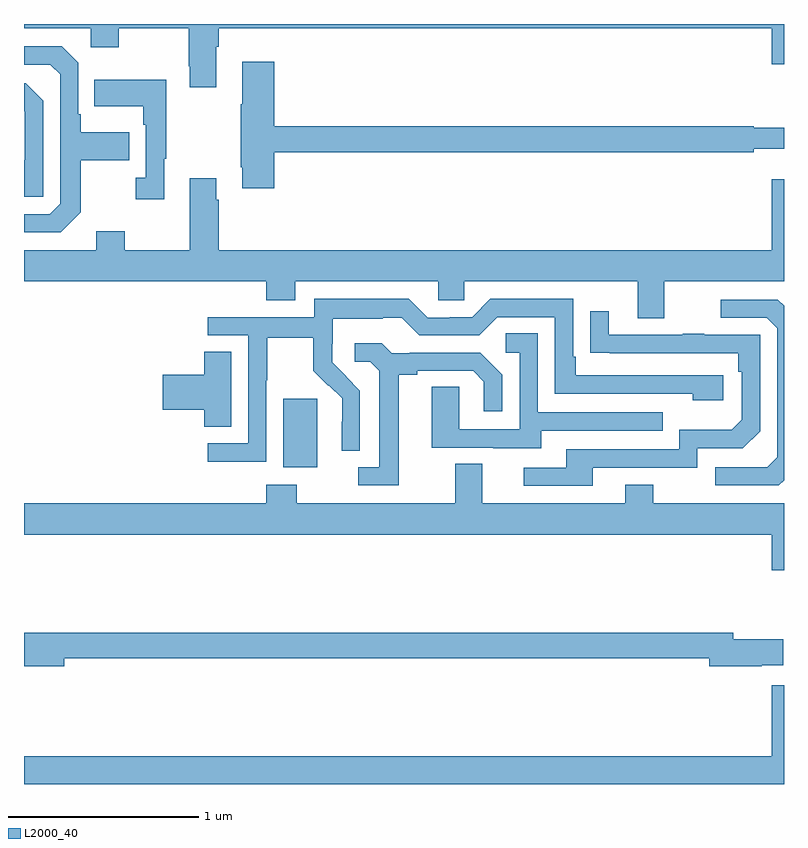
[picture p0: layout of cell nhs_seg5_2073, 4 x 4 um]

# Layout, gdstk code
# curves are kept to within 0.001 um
import gdstk
lib = gdstk.Library(unit=1e-6, precision=1e-09)
def R(c, l, rs):  # rectangles x0, y0, x1, y1
    for r in rs: c.add(gdstk.rectangle(r[:2], r[2:], *l))
def P(c, l, *ps):  # polygons
    for p in ps: c.add(gdstk.Polygon(p, *l))
L2000_40 = (2000, 40)

nhs_seg5_2073 = lib.new_cell('nhs_seg5_2073')
R(nhs_seg5_2073, L2000_40, [(234.365,838.466,234.544,838.827)])
P(nhs_seg5_2073, L2000_40, [(234.013,840.68),(234.026,840.68),(234.026,840.776),(236.936,840.776),(236.936,840.588),(237,840.588),(237,840.799),(233,840.799),(233,840.776),(233.352,840.776),(233.352,840.677),(233.499,840.677),(233.499,840.776),(233.866,840.776),(233.866,840.577),(233.873,840.577),(233.873,840.465),(234.013,840.465)],
  [(233.299,839.809),(233.299,840.082),(233.555,840.082),(233.555,840.229),(233.299,840.229),(233.299,840.325),(233.286,840.325),(233.286,840.594),(233.199,840.681),(233,840.681),(233,840.585),(233.139,840.585),(233.19,840.534),(233.19,839.853),(233.136,839.799),(233,839.799),(233,839.703),(233.193,839.703)],
  [(234.317,840.124),(236.84,840.124),(236.84,840.143),(237,840.143),(237,840.253),(236.842,840.253),(236.842,840.26),(234.317,840.26),(234.317,840.601),(234.149,840.601),(234.149,840.377),(234.142,840.377),(234.142,840.046),(234.149,840.046),(234.149,839.934),(234.317,839.934)],
  [(233.737,840.089),(233.749,840.089),(233.749,840.505),(233.371,840.505),(233.371,840.365),(233.628,840.365),(233.628,840.269),(233.64,840.269),(233.64,839.99),(233.589,839.99),(233.589,839.877),(233.737,839.877)],
  [(233.1,840.396),(233.01,840.486),(233,840.486),(233,840.34),(233.004,840.336),(233.004,840.082),(233,840.082),(233,839.889),(233.1,839.889)],
  [(236.371,839.444),(237,839.444),(237,839.983),(236.936,839.983),(236.936,839.608),(234.026,839.608),(234.026,839.873),(234.013,839.873),(234.013,839.986),(233.873,839.986),(233.873,839.608),(233.529,839.608),(233.529,839.707),(233.381,839.707),(233.381,839.608),(233,839.608),(233,839.444),(234.275,839.444),(234.275,839.345),(234.427,839.345),(234.427,839.444),(235.179,839.444),(235.179,839.346),(235.317,839.346),(235.317,839.444),(236.231,839.444),(236.231,839.25),(236.371,839.25)],
  [(234.276,838.924),(234.279,838.924),(234.279,839.148),(234.523,839.148),(234.523,838.973),(234.6,838.896),(234.603,838.899),(234.674,838.829),(234.674,838.706),(234.672,838.706),(234.672,838.552),(234.768,838.552),(234.768,838.87),(234.622,839.018),(234.622,839.115),(234.624,839.115),(234.624,839.249),(234.887,839.249),(234.887,839.253),(234.987,839.253),(235.08,839.16),(235.395,839.16),(235.491,839.256),(235.794,839.256),(235.794,838.854),(236.519,838.854),(236.519,838.82),(236.68,838.82),(236.68,838.95),(235.903,838.95),(235.903,839.047),(235.89,839.047),(235.89,839.352),(235.455,839.352),(235.359,839.256),(235.241,839.256),(235.241,839.253),(235.125,839.253),(235.025,839.353),(234.528,839.353),(234.528,839.256),(233.967,839.256),(233.967,839.16),(234.18,839.16),(234.18,838.593),(233.967,838.593),(233.967,838.495),(234.276,838.495)],
  [(237,838.398),(237,839.316),(236.967,839.349),(236.667,839.349),(236.667,839.253),(236.91,839.253),(236.964,839.199),(236.964,838.518),(236.913,838.467),(236.637,838.467),(236.637,838.371),(236.973,838.371)],
  [(235.993,838.464),(236.544,838.464),(236.544,838.566),(236.784,838.566),(236.874,838.656),(236.874,839.163),(236.579,839.163),(236.579,839.168),(236.467,839.168),(236.467,839.163),(236.077,839.163),(236.077,839.287),(235.981,839.287),(235.981,839.068),(236.758,839.067),(236.758,838.97),(236.778,838.97),(236.778,838.716),(236.725,838.663),(236.448,838.663),(236.448,838.56),(235.853,838.56),(235.853,838.464),(235.629,838.464),(235.629,838.368),(235.993,838.368)],
  [(235.723,838.659),(236.363,838.659),(236.363,838.755),(235.704,838.755),(235.704,839.171),(235.536,839.171),(235.536,839.07),(235.608,839.07),(235.608,838.665),(235.29,838.665),(235.29,838.889),(235.145,838.889),(235.145,838.569),(235.469,838.569),(235.469,838.565),(235.723,838.565)],
  [(234.973,838.952),(235.069,838.952),(235.069,838.974),(235.364,838.974),(235.421,838.917),(235.421,838.761),(235.518,838.761),(235.518,838.954),(235.402,839.07),(235.03,839.07),(235.03,839.067),(234.936,839.067),(234.884,839.119),(234.741,839.119),(234.741,839.022),(234.822,839.022),(234.869,838.975),(234.869,838.467),(234.759,838.467),(234.759,838.371),(234.973,838.371)],
  [(234.091,839.075),(233.948,839.075),(233.948,838.952),(233.73,838.952),(233.73,838.769),(233.948,838.769),(233.948,838.678),(234.091,838.678)],
  [(237,838.276),(236.313,838.276),(236.313,838.375),(236.165,838.375),(236.165,838.276),(235.411,838.276),(235.411,838.484),(235.271,838.484),(235.271,838.276),(234.435,838.276),(234.435,838.375),(234.275,838.375),(234.275,838.276),(233,838.276),(233,838.112),(236.936,838.112),(236.936,837.924),(237,837.924)],
  [(233.212,837.46),(236.606,837.46),(236.606,837.418),(236.882,837.418),(236.882,837.425),(236.995,837.425),(236.995,837.56),(236.734,837.56),(236.734,837.596),(233,837.596),(233,837.418),(233.212,837.418)],
  [(237,837.319),(236.936,837.319),(236.936,836.944),(233,836.944),(233,836.799),(237,836.799)])

lib.write_gds('nhs_seg5_2073.gds')
